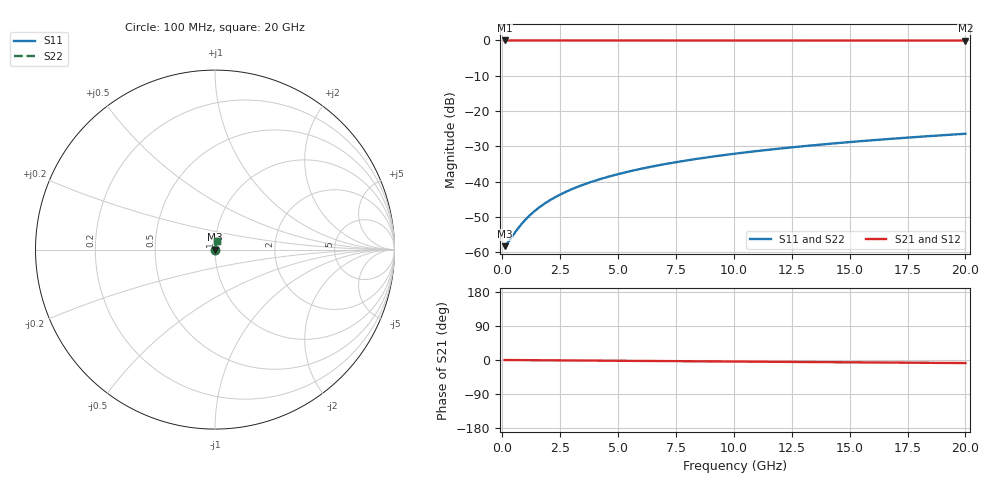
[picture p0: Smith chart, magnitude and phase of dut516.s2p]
! Touchstone file exported from HFSS 2026.1.0
!  File:  C:/ffzhzh/LocalFiles/Ansys_Project_Files/temp_train_TSV_516_1783023392_53980.aedt
!  Generated:  04:18:35 AM Jul  3, 2026
!  Design:  TSV
!  Project:  temp_train_TSV_516_1783023392_53980
! Variables:
!  h_bsmrdl = 2um
!  h_ox = 20um
!  h_rdl = 5um
!  h_sub = 81.11um
!  h_tmrdl = 5um
!  h_tsv = 81.11um
!  h_via = 3um
!  l_bsmrdl = 300um
!  l_sub = 405.64um
!  l_tmrdl = 200um
!  m_sub = 200um
!  pitch = 19.44um
!  r_tsv = 2.82um
!  s_tmrdl = 10um
!  w_bsmrdl = 18um
!  w_sub = 500um
!  w_tmrdl = 12um
!  x_tsv_center1 = 206um
!  x_tsv_center2 = 524um
!  x_tsv_center3 = 736um
!  x_tsv_center4 = 1054um
!  x_tsv_center5 = 1266um
!  x_tsv_center6 = 1584um
# GHz S MA R 50.000000
! Terminal data exported
! Port[1] = TSV1_1_T1
! Port[2] = TSV1_1_T2
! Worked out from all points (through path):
!   200 points, 100 MHz to 20 GHz, reference 50 ohm
!   highest |S21| = -0.01 dB at 100 MHz (marker M1); lowest = 0.0 dB at 20 GHz (marker M2)
!   group delay of S21, straight-line fit = 1.12 ps
!   lowest |S11| = -58.3 dB at 100 MHz (marker M3), VSWR 1.00, Z = 50.1 + j0.0273 ohm
!   |S11| at or under -10 dB: start of sweep to end of sweep
!   |S22| runs from -58.3 to -26.4 dB; largest |S21 - S12| = 2e-15
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0.1  0.001219 12.9  0.9988 -0.0  0.9988 -0.0  0.001219 12.9
! Gamma 0 0 0 0
! Port Impedance 50 0 50 0
0.2  0.001315 24.3  0.9988 -0.1  0.9988 -0.1  0.001315 24.3
0.6  0.002012 51.6  0.9988 -0.3  0.9988 -0.3  0.002012 51.6
0.7  0.002223 55.5  0.9987 -0.3  0.9987 -0.3  0.002223 55.5
0.9  0.002666 61.3  0.9987 -0.4  0.9987 -0.4  0.002666 61.3
1.2  0.003365 67.0  0.9987 -0.5  0.9987 -0.5  0.003365 67.0
1.5  0.004086 70.7  0.9987 -0.6  0.9987 -0.6  0.004086 70.7
1.9  0.005068 73.9  0.9987 -0.8  0.9987 -0.8  0.005068 73.9
2.4  0.00631 76.4  0.9986 -1.0  0.9986 -1.0  0.00631 76.4
2.9  0.007558 77.9  0.9985 -1.2  0.9985 -1.2  0.007558 77.9
3.5  0.009057 79.0  0.9985 -1.4  0.9985 -1.4  0.009057 79.0
4.2  0.0108 79.8  0.9984 -1.7  0.9984 -1.7  0.0108 79.8
5  0.01278 80.3  0.9982 -2.1  0.9982 -2.1  0.01278 80.3
5.9  0.01499 80.5  0.998 -2.4  0.998 -2.4  0.01499 80.5
6.8  0.01717 80.5  0.9979 -2.8  0.9979 -2.8  0.01717 80.6
8.3  0.02077 80.4  0.9975 -3.4  0.9975 -3.4  0.02077 80.4
10.1  0.02502 80.1  0.9972 -4.1  0.9972 -4.1  0.02502 80.1
11.7  0.02875 79.7  0.9968 -4.8  0.9968 -4.8  0.02875 79.7
13.4  0.03268 79.3  0.9965 -5.4  0.9965 -5.4  0.03268 79.3
15  0.03634 78.9  0.9961 -6.1  0.9961 -6.1  0.03634 78.9
16.7  0.04021 78.4  0.9958 -6.7  0.9958 -6.7  0.04021 78.4
20  0.04767 77.5  0.9951 -8.1  0.9951 -8.1  0.04767 77.5
